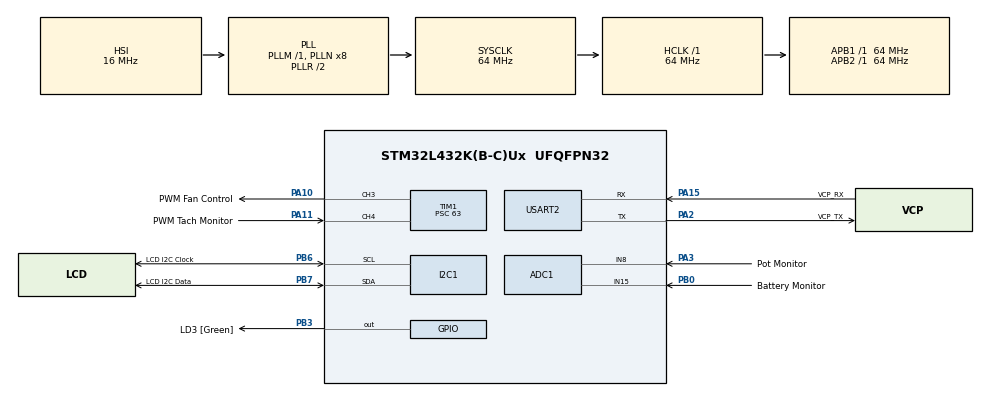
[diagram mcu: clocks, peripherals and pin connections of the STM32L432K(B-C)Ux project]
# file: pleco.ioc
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ADC1.Channel-0\#ChannelRegularConversion=ADC_CHANNEL_8
ADC1.Channel-1\#ChannelRegularConversion=ADC_CHANNEL_15
ADC1.NbrOfConversion=2
ADC1.NbrOfConversionFlag=1
ADC1.OffsetNumber-0\#ChannelRegularConversion=ADC_OFFSET_NONE
ADC1.OffsetNumber-1\#ChannelRegularConversion=ADC_OFFSET_NONE
ADC1.Rank-0\#ChannelRegularConversion=1
ADC1.Rank-1\#ChannelRegularConversion=2
ADC1.SamplingTime-0\#ChannelRegularConversion=ADC_SAMPLETIME_47CYCLES_5
ADC1.SamplingTime-1\#ChannelRegularConversion=ADC_SAMPLETIME_47CYCLES_5
ADC1.master=1
Dma.ADC1.0.Direction=DMA_PERIPH_TO_MEMORY
Dma.ADC1.0.Instance=DMA1_Channel1
Dma.ADC1.0.MemDataAlignment=DMA_MDATAALIGN_HALFWORD
Dma.ADC1.0.MemInc=DMA_MINC_ENABLE
Dma.ADC1.0.Mode=DMA_NORMAL
Dma.ADC1.0.PeriphDataAlignment=DMA_PDATAALIGN_HALFWORD
Dma.ADC1.0.PeriphInc=DMA_PINC_DISABLE
Dma.ADC1.0.Priority=DMA_PRIORITY_LOW
Dma.Request0=ADC1
FREERTOS.BinarySemaphores01=adcConvSem,Dynamic,NULL,Available;tachMonSem,Dynamic,NULL,Available
FREERTOS.Mutexes01=dataMutex,Dynamic,NULL,Available
FREERTOS.Tasks01=FanControlTask,32,512,StartFanControlTask,Default,NULL,Dynamic,NULL,NULL;MonitorADCTask,24,256,StartMonitorADCTask,Default,NULL,Dynamic,NULL,NULL;MonitorTachTask,32,256,StartMonitorTachTask,Default,NULL,Dynamic,NULL,NULL;UpdateLCDTask,16,256,StartUpdateLCDTask,Default,NULL,Dynamic,NULL,NULL
FREERTOS.configTOTAL_HEAP_SIZE=8192
FREERTOS.configUSE_NEWLIB_REENTRANT=1
I2C1.Timing=0x10B17DB5
Mcu.Family=STM32L4
Mcu.Name=STM32L432K(B-C)Ux
Mcu.Package=UFQFPN32
NVIC.DMA1_Channel1_IRQn=true\:5\:0\:false\:false\:true\:true\:false\:true\:true
NVIC.PriorityGroup=NVIC_PRIORITYGROUP_4
NVIC.TIM1_CC_IRQn=true\:5\:0\:false\:false\:true\:true\:true\:true\:true
NVIC.TIM2_IRQn=true\:15\:0\:false\:false\:true\:false\:false\:true\:true
NVIC.TimeBase=TIM2_IRQn
NVIC.TimeBaseIP=TIM2
PA0.GPIO_Label=MCO [High speed clock in]
PA0.Mode=HSE-External-Clock-Source-for-LittleOrca
PA0.Signal=RCC_CK_IN
PA10.GPIO_Label=PWM Fan Control
PA10.Signal=S_TIM1_CH3
PA11.GPIO_Label=PWM Tach Monitor
PA11.Signal=S_TIM1_CH4
PA13\ (JTMS-SWDIO).GPIO_Label=SWDIO
PA13\ (JTMS-SWDIO).Mode=Serial_Wire
PA13\ (JTMS-SWDIO).Signal=SYS_JTMS-SWDIO
PA14\ (JTCK-SWCLK).GPIO_Label=SWCLK
PA14\ (JTCK-SWCLK).Mode=Serial_Wire
PA14\ (JTCK-SWCLK).Signal=SYS_JTCK-SWCLK
PA15\ (JTDI).GPIO_Label=VCP_RX
PA15\ (JTDI).Mode=Asynchronous
PA15\ (JTDI).Signal=USART2_RX
PA2.GPIO_Label=VCP_TX
PA2.Mode=Asynchronous
PA2.Signal=USART2_TX
PA3.GPIO_Label=Pot Monitor
PA3.Signal=ADCx_IN8
PB0.GPIO_Label=Battery Monitor
PB0.Signal=ADCx_IN15
PB3\ (JTDO-TRACESWO).GPIO_Label=LD3 [Green]
PB3\ (JTDO-TRACESWO).Signal=GPIO_Output
PB6.GPIO_Label=LCD I2C Clock
PB6.Mode=I2C
PB6.Signal=I2C1_SCL
PB7.GPIO_Label=LCD I2C Data
PB7.Mode=I2C
PB7.Signal=I2C1_SDA
PC14-OSC32_IN\ (PC14).Mode=LSE-External-Oscillator
PC14-OSC32_IN\ (PC14).Signal=RCC_OSC32_IN
PC15-OSC32_OUT\ (PC15).Mode=LSE-External-Oscillator
PC15-OSC32_OUT\ (PC15).Signal=RCC_OSC32_OUT
ProjectManager.HeapSize=0x200
ProjectManager.StackSize=0x400
ProjectManager.TargetToolchain=STM32CubeIDE
RCC.ADCFreq_Value=64000000
RCC.AHBFreq_Value=64000000
RCC.APB1Freq_Value=64000000
RCC.APB1TimFreq_Value=64000000
RCC.APB2Freq_Value=64000000
RCC.APB2TimFreq_Value=64000000
RCC.CortexFreq_Value=64000000
RCC.HCLKFreq_Value=64000000
RCC.HSE_VALUE=8000000
RCC.HSI16_VALUE=16000000
RCC.HSI48_VALUE=48000000
RCC.HSI_VALUE=16000000
RCC.MSI_VALUE=4000000
RCC.PLLMUL=RCC_PLLMUL_4
RCC.PLLSourceVirtual=RCC_PLLSOURCE_HSI
RCC.SYSCLKFreq_VALUE=64000000
RCC.SYSCLKSource=RCC_SYSCLKSOURCE_PLLCLK
RCC.USBFreq_Value=64000000
RCC.VCOOutputFreq_Value=128000000
SH.ADCx_IN15.0=ADC1_IN15,IN15-Single-Ended
SH.ADCx_IN8.0=ADC1_IN8,IN8-Single-Ended
SH.S_TIM1_CH3.0=TIM1_CH3,PWM Generation3 CH3
SH.S_TIM1_CH4.0=TIM1_CH4,Input_Capture4_from_TI4
TIM1.Channel-Input_Capture4_from_TI4=TIM_CHANNEL_4
TIM1.Channel-PWM\ Generation3\ CH3=TIM_CHANNEL_3
TIM1.ICFilter_CH4=15
TIM1.ICPolarity_CH4=TIM_INPUTCHANNELPOLARITY_FALLING
TIM1.Prescaler=63
USART2.VirtualMode-Asynchronous=VM_ASYNC
VP_FREERTOS_VS_CMSIS_V2.Mode=CMSIS_V2
VP_SYS_VS_tim2.Mode=TIM2
VP_TIM1_VS_ClockSourceINT.Mode=Internal
board=NUCLEO-L432KC

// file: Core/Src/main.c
/* USER CODE BEGIN Header */
/**
  ******************************************************************************
  * @file           : main.c
  * @brief          : Main program body
  ******************************************************************************
  * @attention
  *
  * Copyright (c) 2024 STMicroelectronics.
  * All rights reserved.
  *
  * This software is licensed under terms that can be found in the LICENSE file
  * in the root directory of this software component.
  * If no LICENSE file comes with this software, it is provided AS-IS.
  *
  ******************************************************************************
  */
/* USER CODE END Header */
#include "main.h"
#include "cmsis_os.h"
#include "adc.h"
#include "dma.h"
#include "i2c.h"
#include "tim.h"
#include "usart.h"
#include "gpio.h"

/* USER CODE BEGIN Includes */
void InitializeBatteryMonitoringLog(void);
/* USER CODE END Includes */

/* USER CODE BEGIN PV */
volatile uint32_t overflowCount = 0;

/* USER CODE END PV */

void SystemClock_Config(void);
void MX_FREERTOS_Init(void);

int main(void)
{

  /* MCU Configuration--------------------------------------------------------*/

  /* Reset of all peripherals, Initializes the Flash interface and the Systick. */
  HAL_Init();

  /* Configure the system clock */
  SystemClock_Config();

  /* USER CODE BEGIN SysInit */
  InitializeBatteryMonitoringLog();

  /* USER CODE END SysInit */

  /* Initialize all configured peripherals */
  MX_GPIO_Init();
  MX_DMA_Init();
  MX_USART2_UART_Init();
  MX_ADC1_Init();
  MX_I2C1_Init();
  MX_TIM1_Init();
  /* USER CODE BEGIN 2 */

  // Start the PWM output on for fan control
  HAL_TIM_PWM_Start(&htim1, TIM_CHANNEL_3);
  // Initialize Timer 1 for tachometer Feedback
  HAL_TIM_IC_Start_IT(&htim1, TIM_CHANNEL_4);

  /* USER CODE END 2 */

  /* Init scheduler */
  osKernelInitialize();

  /* Call init function for freertos objects (in cmsis_os2.c) */
  MX_FREERTOS_Init();

  /* Start scheduler */
  osKernelStart();

  /* We should never get here as control is now taken by the scheduler */

  /* Infinite loop */
  while (1)
  {

  }
}

void SystemClock_Config(void)
{
  RCC_OscInitTypeDef RCC_OscInitStruct = {0};
  RCC_ClkInitTypeDef RCC_ClkInitStruct = {0};

  /** Configure the main internal regulator output voltage
  */
  if (HAL_PWREx_ControlVoltageScaling(PWR_REGULATOR_VOLTAGE_SCALE1) != HAL_OK)
  {
    Error_Handler();
  }

  /** Initializes the RCC Oscillators according to the specified parameters
  * in the RCC_OscInitTypeDef structure.
  */
  RCC_OscInitStruct.OscillatorType = RCC_OSCILLATORTYPE_HSI;
  RCC_OscInitStruct.HSIState = RCC_HSI_ON;
  RCC_OscInitStruct.HSICalibrationValue = RCC_HSICALIBRATION_DEFAULT;
  RCC_OscInitStruct.PLL.PLLState = RCC_PLL_ON;
  RCC_OscInitStruct.PLL.PLLSource = RCC_PLLSOURCE_HSI;
  RCC_OscInitStruct.PLL.PLLM = 1;
  RCC_OscInitStruct.PLL.PLLN = 8;
  RCC_OscInitStruct.PLL.PLLP = RCC_PLLP_DIV7;
  RCC_OscInitStruct.PLL.PLLQ = RCC_PLLQ_DIV2;
  RCC_OscInitStruct.PLL.PLLR = RCC_PLLR_DIV2;
  if (HAL_RCC_OscConfig(&RCC_OscInitStruct) != HAL_OK)
  {
    Error_Handler();
  }

  /** Initializes the CPU, AHB and APB buses clocks
  */
  RCC_ClkInitStruct.ClockType = RCC_CLOCKTYPE_HCLK|RCC_CLOCKTYPE_SYSCLK
                              |RCC_CLOCKTYPE_PCLK1|RCC_CLOCKTYPE_PCLK2;
  RCC_ClkInitStruct.SYSCLKSource = RCC_SYSCLKSOURCE_PLLCLK;
  RCC_ClkInitStruct.AHBCLKDivider = RCC_SYSCLK_DIV1;
  RCC_ClkInitStruct.APB1CLKDivider = RCC_HCLK_DIV1;
  RCC_ClkInitStruct.APB2CLKDivider = RCC_HCLK_DIV1;

  if (HAL_RCC_ClockConfig(&RCC_ClkInitStruct, FLASH_LATENCY_3) != HAL_OK)
  {
    Error_Handler();
  }
}

void HAL_TIM_PeriodElapsedCallback(TIM_HandleTypeDef *htim)
{
  /* USER CODE BEGIN Callback 0 */
  if (htim->Instance == TIM1)
  {
	// Increment overflow counter
  	overflowCount++;
  }

  /* USER CODE END Callback 0 */
  if (htim->Instance == TIM2) {
    HAL_IncTick();
  }
}

void Error_Handler(void)
{
  __disable_irq();
  while (1)
  {
  }
}

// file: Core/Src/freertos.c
/* USER CODE BEGIN Header */
/**
  ******************************************************************************
  * File Name          : freertos.c
  * Description        : Code for freertos applications
  ******************************************************************************
  * @attention
  *
  * Copyright (c) 2024 STMicroelectronics.
  * All rights reserved.
  *
  * This software is licensed under terms that can be found in the LICENSE file
  * in the root directory of this software component.
  * If no LICENSE file comes with this software, it is provided AS-IS.
  *
  ******************************************************************************
  */
/* USER CODE END Header */

#include "FreeRTOS.h"
#include "task.h"
#include "main.h"
#include "cmsis_os.h"

/* USER CODE BEGIN Includes */
#include "adc.h"
#include "i2c.h"
#include "semphr.h"
#include "liquidcrystal_i2c.h"
#include "tim.h"
#include <stdio.h>
#include <stdlib.h>
#include <math.h>
#include <stdbool.h>

/* USER CODE END Includes */

/* USER CODE BEGIN Variables */
#define CAPTURE_LOG_SIZE 1000
#define CAPTURE_BATTERY_LOG_SIZE 50 // Size of array for moving average
#define POT_HYSTERESIS_THRESHOLD 50 // 50 mv
#define TACH_HYSTERESIS_THRESHOLD 10000 // 10000 RPM Limit
#define POT_LOW_PASS_ALPHA 1.0f	//Responsiveness at max (range 0.0 - 1.0 higher is faster)
#define BATTERY_LOW_THRESHOLD 10.5
#define MAX_BATTERY_VOLTAGE 12.6 // 100%
#define MAX_ADC_READ 3090 // 100% ADC READ (for battery logging initialization)
#define ADC_NOISE_AVERAGE 52 // Measured average of noise when RPMS are High vs Low - adjust as needed

extern LiquidCrystal_I2C lcd;

volatile uint16_t adcBuffer[2]; // [0] used for pot, [1] for battery
volatile uint16_t potReadValue;
volatile uint16_t potPercentage;
volatile uint16_t tachReadValue;
volatile uint32_t localFanPeriod = 0;

// Logs for battery / ADC / duty cycle / PID error, etc.
volatile unsigned int captureADCLogIndex = 0;
volatile float captureADCLog[CAPTURE_BATTERY_LOG_SIZE];
volatile uint8_t captureADCLogOverflow = 0;

volatile unsigned int captureBatteryLogIndex = 0;
volatile float captureBatteryLog[CAPTURE_BATTERY_LOG_SIZE];

volatile unsigned int captureDutyCycleLogIndex = 0;
volatile uint8_t captureDutyCycleLogOverflow = 0;        // Flag to indicate buffer overflow
volatile float captureDutyCycleLog[CAPTURE_LOG_SIZE];

volatile unsigned int captureErrorLogIndex = 0;
volatile uint8_t captureErrorLogOverflow = 0;        // Flag to indicate buffer overflow
volatile float captureErrorLog[CAPTURE_LOG_SIZE];

// Shared flag for low battery voltage
volatile bool batteryLow = false;

// Rate‐limiting parameter: how many timer counts we allow the duty cycle to change per iteration
volatile float maxDeltaPerLoop = 10000.0f; // adjust to clamp over/undershoot

// Max RPM - for DBTB0428B2G - manually measured using external tach;
volatile float maxRPM = 23000.0f;

// used for PID Tuning
volatile float bestScore = -1.0f;
volatile float score = 0.0f;
volatile float testSetpoint = 0.7f; // 70% or 15400 RPM for PID tuning
volatile float testTime = 20.0f; // 15 seconds each test
// Best Scoring PID Values - Score: 38
volatile float kP = 66.0f;
volatile float kI = 7.3727f;
volatile float kD = 0.00159f;

// Piecewise samples for calculating battery life
typedef struct{
	float adcValue;
	float voltageValue;
	float batteryPercent;
} BatteryPoint;

// Empirically derived samples
static const BatteryPoint batteryTable[] = {
	//  voltage,   ADC,        approx. %
	{ 3079.90f, 12.50f,  97.0f },
	{ 3055.96f, 12.45f,  95.0f },
	{ 3046.58f, 12.40f,  93.0f },
	{ 3033.42f, 12.35f,  91.0f },
	{ 3022.80f, 12.30f,  89.0f },
	{ 3004.28f, 12.25f,  88.0f },
	{ 3000.84f, 12.20f,  85.0f },
	{ 2979.90f, 12.15f,  83.0f },
	{ 2968.90f, 12.10f,  81.0f },
	{ 2965.18f, 12.05f,  78.0f },
	{ 2943.48f, 12.00f,  76.0f },
	{ 2937.22f, 11.95f,  74.0f },
	{ 2922.16f, 11.90f,  72.0f },
	{ 2912.56f, 11.85f,  69.0f },
	{ 2901.84f, 11.80f,  67.0f },
	{ 2886.44f, 11.75f,  64.0f },
	{ 2878.52f, 11.70f,  61.0f },
	{ 2864.88f, 11.65f,  58.0f },
	{ 2846.66f, 11.60f,  53.0f },
	{ 2833.86f, 11.55f,  49.0f },
	{ 2822.10f, 11.50f,  44.0f },
	{ 2815.10f, 11.45f,  38.0f },
	{ 2802.82f, 11.40f,  32.0f },
	{ 2789.94f, 11.35f,  28.0f },
	{ 2773.90f, 11.30f,  25.0f },
	{ 2763.30f, 11.25f,  21.0f },
	{ 2752.16f, 11.20f,  18.0f },
	{ 2741.18f, 11.15f,  16.0f },
	{ 2729.64f, 11.05f,  11.0f },
	{ 2704.96f, 11.00f,   9.0f },
	{ 2696.06f, 10.95f,   8.0f },
	{ 2677.54f, 10.90f,   8.0f },
	{ 2670.00f, 10.85f,   7.0f },
	{ 2653.00f, 10.80f,   7.0f },
	{ 2643.52f, 10.75f,   6.0f },
	{ 2637.84f, 10.70f,   6.0f },
	{ 2604.76f, 10.60f,   6.0f },
	{ 2587.14f, 10.50f,   5.0f },
	{ 2563.54f, 10.40f,   4.0f }
};
static const int batteryTableCount = sizeof(batteryTable) / sizeof(batteryTable[0]);

/* USER CODE END Variables */
/* Definitions for FanControlTask */
osThreadId_t FanControlTaskHandle;
const osThreadAttr_t FanControlTask_attributes = {
  .name = "FanControlTask",
  .stack_size = 512 * 4,
  .priority = (osPriority_t) osPriorityAboveNormal,
};
/* Definitions for MonitorADCTask */
osThreadId_t MonitorADCTaskHandle;
const osThreadAttr_t MonitorADCTask_attributes = {
  .name = "MonitorADCTask",
  .stack_size = 256 * 4,
  .priority = (osPriority_t) osPriorityNormal,
};
/* Definitions for MonitorTachTask */
osThreadId_t MonitorTachTaskHandle;
const osThreadAttr_t MonitorTachTask_attributes = {
  .name = "MonitorTachTask",
  .stack_size = 256 * 4,
  .priority = (osPriority_t) osPriorityAboveNormal,
};
/* Definitions for UpdateLCDTask */
osThreadId_t UpdateLCDTaskHandle;
const osThreadAttr_t UpdateLCDTask_attributes = {
  .name = "UpdateLCDTask",
  .stack_size = 256 * 4,
  .priority = (osPriority_t) osPriorityBelowNormal,
};
/* Definitions for dataMutex */
osMutexId_t dataMutexHandle;
const osMutexAttr_t dataMutex_attributes = {
  .name = "dataMutex"
};
/* Definitions for adcConvSem */
osSemaphoreId_t adcConvSemHandle;
const osSemaphoreAttr_t adcConvSem_attributes = {
  .name = "adcConvSem"
};
/* Definitions for tachMonSem */
osSemaphoreId_t tachMonSemHandle;
const osSemaphoreAttr_t tachMonSem_attributes = {
  .name = "tachMonSem"
};

/* USER CODE BEGIN FunctionPrototypes */

/**
  * @brief  Initializes the battery logging array with a default ADC value
  *         (e.g. MAX_ADC_READ), helping avoid false "low battery" on startup.
  *         Called once at system init if needed.
  */
void InitializeBatteryMonitoringLog()
{
	for (int i = 0; i < CAPTURE_BATTERY_LOG_SIZE; i++)
	{
		captureBatteryLog[i] = MAX_ADC_READ;
	}
}

/**
  * @brief  Applies hysteresis + low-pass filtering on the raw pot ADC reading.
  *         Returns a smoothed millivoltage. Minimizes jitter but stays responsive.
  *
  * @param  newReading   Raw ADC reading: range [0..4095].
  * @retval float        Filtered reading in millivolts [0..3300].
  */
float ProcessPotentiometerReading(float newReading)
{
	static float potLastAcceptedValue = 0.0f;
	static float potFilteredValue = 0.0f;
	newReading = (newReading / 4095.0f) * 3300.0f;

	// Apply Hysteresis to ignore small changes
	if(fabs(newReading - potLastAcceptedValue) > POT_HYSTERESIS_THRESHOLD)
	{
		potLastAcceptedValue = newReading;
	}

	// Apply Low-pass filter for smoothing
	potFilteredValue = potFilteredValue + POT_LOW_PASS_ALPHA * (potLastAcceptedValue - potFilteredValue);
	return potFilteredValue;
}

/**
  * @brief  Averages the battery ADC readings from captureBatteryLog to produce a stable value.
  *
  * @retval float   The moving-average ADC reading (in raw ADC counts).
  */
float GetBatteryReadingADC()
{
	static int count = 0;
	count = count < CAPTURE_BATTERY_LOG_SIZE ? count + 1 : CAPTURE_BATTERY_LOG_SIZE; // Increment up to buffer size

	float sum = 0.0f;
	for(int i = 0; i < count; i++)
	{
		sum += captureBatteryLog[i];
	}
	float currentACDReading = sum / count;
	return currentACDReading;
}

/**
  * @brief  Converts the average ADC reading into an approximate battery voltage (Volts),
  *         using piecewise linear interpolation. Reference batteryTable for samples.
  *
  * @retval float  Approximate battery voltage (e.g. 12.45).
  */
float GetBatteryReadingVolts()
{
	float adcValue = GetBatteryReadingADC();
	// If the measured ADC is >= max voltage, clamp:
	if(adcValue >= batteryTable[0].adcValue)
	{
		return (float)MAX_BATTERY_VOLTAGE; // return max 12.6 volts
	}

	// If the measured ADC is <= min voltage, clamp:
	if(adcValue <= batteryTable[batteryTableCount - 1].adcValue)
	{
		return batteryTable[batteryTableCount -1].voltageValue;
	}

	// Run through samples to determine slope and intersect
	for(int i = 0; i < batteryTableCount - 1; i++)
	{
		float adcHigh = batteryTable[i].adcValue;
		float adcLow = batteryTable[i+1].adcValue;

		if(adcValue <= adcHigh && adcValue >=adcLow)
		{
			// Correct segment located from the table
			// Linearly interpolate between adcHigh and adcLow
			float voltageHigh = batteryTable[i].voltageValue;
			float voltageLow = batteryTable[i+1].voltageValue;

			// Fraction along the segment
			float fraction = (adcValue - adcLow) / (adcHigh - adcLow);

			// Interpolate
			float estimatedVoltage = voltageLow + fraction * (voltageHigh - voltageLow);

			return estimatedVoltage;
		}
	}
	// should never get here due to clamping - avoids compile warnings
	return batteryTable[batteryTableCount - 1].voltageValue;
}

/**
  * @brief  Converts the average ADC reading into an integer percentage [0..100] by
  *         linearly interpolating the raw ADC reading in batteryTable.

  * @retval uint8_t  The battery percentage, 0..100.
  */
uint8_t GetBatteryLifePercent()
{
	float adcValue = GetBatteryReadingADC();
		// If the measured ADC is >= max percentage, clamp:
		if(adcValue >= batteryTable[0].adcValue)
		{
			return 100; // return 100% battery life
		}

		// If the measured ADC is <= min voltage, clamp:
		if(adcValue <= batteryTable[batteryTableCount - 1].adcValue)
		{
			return batteryTable[batteryTableCount -1].batteryPercent;
		}

		// Run through samples to determine slope and intersect
		for(int i = 0; i < batteryTableCount - 1; i++)
		{
			float adcHigh = batteryTable[i].adcValue;
			float adcLow = batteryTable[i+1].adcValue;

			if(adcValue <= adcHigh && adcValue >=adcLow)
			{
				// Correct segment located from the table
				// Linearly interpolate between adcHigh and adcLow
				float percentHigh = batteryTable[i].batteryPercent;
				float percentLow = batteryTable[i+1].batteryPercent;

				// Fraction along the segment
				float fraction = (adcValue - adcLow) / (adcHigh - adcLow);

				// Interpolate
				uint8_t batteryPercentage = (int)round(percentLow + fraction * (percentHigh - percentLow));

				return batteryPercentage;
			}
		}
		// should never get here due to clamping - avoids compile warnings
		return batteryTable[batteryTableCount - 1].voltageValue;
}

/**
  * @brief  Returns the battery reading in millivolts, derived from GetBatteryReadingVolts().
  *
  * @retval float  The battery voltage in millivolts (e.g., 12540.0).
  */
float GetBatteryReadingMillivolts()
{
	float volts = GetBatteryReadingVolts();
	return (volts * 1000.0f);  // returns ~12570.0
}

/**
  * @brief  Logs a new raw battery ADC reading into captureBatteryLog for averaging, then
  *         checks if the battery voltage is below BATTERY_LOW_THRESHOLD to set batteryLow.
  *
  * @param  newReading: The raw ADC reading for battery channel [0..4095].
  */
void ProcessBatteryReading(float newReading)
{
	captureBatteryLog[captureBatteryLogIndex] = newReading;
	captureBatteryLogIndex = (captureBatteryLogIndex +1 ) % CAPTURE_BATTERY_LOG_SIZE;
	// If Battery is low throttle power down
	if(GetBatteryReadingVolts() < BATTERY_LOW_THRESHOLD)
	{
		// Indicate battery low to other tasking
		if(osMutexAcquire(dataMutexHandle, osWaitForever) == osOK)
		{
			batteryLow = true;
			osMutexRelease(dataMutexHandle);
		}
	}
	else
	{
		// Indicate battery not yet low to other tasking
		if(osMutexAcquire(dataMutexHandle, osWaitForever) == osOK)
		{
			batteryLow = false;
			osMutexRelease(dataMutexHandle);
		}
	}
}

/**
  * @brief  Updates the globally used PID gains kP, kI, kD for fan control.
  *
  * @param  kp, ki, kd : Gains used in the PID control loop
  */
void SetPIDGains(float kp, float ki, float kd)
{
    kP = kp;
    kI = ki;
    kD = kd;
}

/**
  * @brief  Runs a mini PID loop at the specified (testKp, testKi, testKd)
  *         for the specified duration. It drives the fan (PWM) using
  *         scaledDuty calls, measures performance, then returns a "score"
  *         (e.g., fraction of time on target).
  *
  * @param  testKp, testKi, testKd : Gains to apply temporarily
  *
  * @retval float: Score achieved by this these PID values - score represents time spent
  *    		  	   at set point within threshold
  */
float RunPIDTest(float testKp, float testKi, float testKd)
{
    // 1) Save original gains so we can restore later
    float originalKp = kP;
    float originalKi = kI;
    float originalKd = kD;

    // 2) Apply the test gains
    SetPIDGains(testKp, testKi, testKd);

    /************************************************************
     * 3) WARM-UP PHASE
     ************************************************************/
    const TickType_t warmUpTicks = pdMS_TO_TICKS(2000); // e.g., 3 seconds
    TickType_t startTicks = xTaskGetTickCount();
    TickType_t warmUpEnd  = startTicks + warmUpTicks;

    const TickType_t stepDelay = pdMS_TO_TICKS(10); // 10 ms loop
    float dT = 0.01f; // 10 ms in float seconds

    float pidIntegral    = 0.0f;
    float previousError  = 0.0f;
    float pidOutput      = 0.0f;
    float scaledDuty     = 0.0f;

    // Keep track of the previous duty cycle for "soft clamp" & rate limit
    float lastDuty       = 0.0f;

    while (xTaskGetTickCount() < warmUpEnd)
    {
        // 3A) Read current RPM
        osMutexAcquire(dataMutexHandle, portMAX_DELAY);
        uint16_t currRPM = tachReadValue;
        osMutexRelease(dataMutexHandle);

        // 3B) Compute error
        float error = testSetpoint - currRPM;

        // 3C) Basic PID
        pidIntegral       += (error * dT);
        float pidDerivative = (error - previousError) / dT;
        pidOutput          = (kP * error) + (kI * pidIntegral) + (kD * pidDerivative);
        previousError      = error;

        // 3D) Convert to duty cycle
        float pwmMaxValue = (float)__HAL_TIM_GET_AUTORELOAD(&htim1);
        scaledDuty = (pidOutput / maxRPM) * pwmMaxValue;

        // 3E) "Soft clamp" approach for negative outputs
        if (scaledDuty < 0.0f)
        {
            float overshootMagnitude  = -scaledDuty;  // how negative we went
            float reductionFraction   = 0.80f;         // tweak as needed
            scaledDuty = lastDuty - (overshootMagnitude * reductionFraction);

            if (scaledDuty < 0.0f)
                scaledDuty = 0.0f;
        }

        // 3F) Also clamp if above max
        if (scaledDuty > pwmMaxValue)
            scaledDuty = pwmMaxValue;

        // >>>> NEW RATE‐LIMITING BLOCK <<<<
        float delta = scaledDuty - lastDuty;
        if (delta >  maxDeltaPerLoop)  delta =  maxDeltaPerLoop;
        if (delta < -maxDeltaPerLoop)  delta = -maxDeltaPerLoop;
        scaledDuty = lastDuty + delta;
        // (Now clamp again if it drifted below 0 or above max)
        if (scaledDuty < 0.0f)         scaledDuty = 0.0f;
        if (scaledDuty > pwmMaxValue)  scaledDuty = pwmMaxValue;
        // <<<< END RATE‐LIMITING BLOCK >>>>

        // 3G) Apply the scaled duty
        __HAL_TIM_SET_COMPARE(&htim1, TIM_CHANNEL_3, (uint32_t)scaledDuty);

        // 3H) Save duty for next iteration
        lastDuty = scaledDuty;

        // 3I) Wait a bit
        vTaskDelay(stepDelay);
    }

    /************************************************************
     * 4) MEASUREMENT PHASE (accumulate error metrics)
     ************************************************************/
    uint32_t onTargetCount    = 0;
    uint32_t offTargetCount   = 0;
    float absoluteErrorSum     = 0.0f;

    float threshold           = 300.0f;  // ±300 RPM
    TickType_t measureTicks   = (TickType_t)(testTime * 1000 / portTICK_PERIOD_MS);
    TickType_t measureStart   = xTaskGetTickCount();
    TickType_t measureEnd     = measureStart + measureTicks;

    // Optionally reset integrator at start of measurement
    // pidIntegral = 0.0f;

    while (xTaskGetTickCount() < measureEnd)
    {
        // 4A) Read current RPM
        osMutexAcquire(dataMutexHandle, portMAX_DELAY);
        uint16_t currRPM = tachReadValue;
        osMutexRelease(dataMutexHandle);

        // 4B) Compute error
        float error = testSetpoint - currRPM;
        absoluteErrorSum += fabsf(error) * dT;

        // 4C) On-target or off-target
        if (fabsf(error) <= threshold)
            onTargetCount++;
        else
            offTargetCount++;

        // 4D) PID calculations
        pidIntegral       += (error * dT);
        float pidDerivative = (error - previousError) / dT;
        pidOutput          = (kP * error) + (kI * pidIntegral) + (kD * pidDerivative);
        previousError      = error;

        // Log the current capture value for analyzing tach data
        captureErrorLog[captureDutyCycleLogIndex] = error;  // Write to the buffer
        captureErrorLogIndex++;
        if (captureErrorLogIndex >= CAPTURE_LOG_SIZE)
        {
            captureErrorLogIndex = 0;
            captureErrorLogOverflow = 1; // Indicate overflow
        }

        // 4E) Convert to duty cycle
        float pwmMaxValue = (float)__HAL_TIM_GET_AUTORELOAD(&htim1);
        scaledDuty        = (pidOutput / maxRPM) * pwmMaxValue;

        // 4F) "Soft clamp" again for negative
        if (scaledDuty < 0.0f)
        {
            float overshootMagnitude  = -scaledDuty;
            float reductionFraction   = 0.5f;
            scaledDuty = lastDuty - (overshootMagnitude * reductionFraction);

            if (scaledDuty < 0.0f)
                scaledDuty = 0.0f;
        }

        if (scaledDuty > pwmMaxValue)
            scaledDuty = pwmMaxValue;

        // >>>> RATE‐LIMITING AGAIN <<<<
        float delta = scaledDuty - lastDuty;
        if (delta >  maxDeltaPerLoop)  delta =  maxDeltaPerLoop;
        if (delta < -maxDeltaPerLoop)  delta = -maxDeltaPerLoop;
        scaledDuty = lastDuty + delta;
        // final clamp
        if (scaledDuty < 0.0f)         scaledDuty = 0.0f;
        if (scaledDuty > pwmMaxValue)  scaledDuty = pwmMaxValue;
        // <<<< END RATE‐LIMITING BLOCK >>>>

		 // Log the current capture value for analyzing tach data
       captureDutyCycleLog[captureDutyCycleLogIndex] = scaledDuty;  // Write to the buffer
       captureDutyCycleLogIndex++;                            // Increment the index

		if (captureDutyCycleLogIndex >= CAPTURE_LOG_SIZE)      // Handle buffer overflow
		{
			captureDutyCycleLogIndex = 0;                      // Reset index (circular buffer)
			captureDutyCycleLogOverflow = 1;                   // Indicate overflow
		}

        __HAL_TIM_SET_COMPARE(&htim1, TIM_CHANNEL_3, (uint32_t)scaledDuty);
        lastDuty = scaledDuty;

        vTaskDelay(stepDelay);
    }

    /************************************************************
     * 5) Convert the error metrics into a final "score"
     ************************************************************/
    float totalSamples = (float)(onTargetCount + offTargetCount);
    float fractionOnTarget = 0.0f;
    if (totalSamples > 0.0f)
        fractionOnTarget = (float)onTargetCount / totalSamples;

    float penalty = 1.0f + absoluteErrorSum / 100000.0f;
    float localScore = fractionOnTarget / penalty;

    /************************************************************
     * 6) Restore original gains
     ************************************************************/
    SetPIDGains(originalKp, originalKi, originalKd);

    return localScore;
}

/* USER CODE END FunctionPrototypes */

void StartFanControlTask(void *argument);
void StartMonitorADCTask(void *argument);
void StartMonitorTachTask(void *argument);
void StartUpdateLCDTask(void *argument);

void MX_FREERTOS_Init(void); /* (MISRA C 2004 rule 8.1) */

void MX_FREERTOS_Init(void) {
  /* Create the mutex(es) */
  /* creation of dataMutex */
  dataMutexHandle = osMutexNew(&dataMutex_attributes);

  /* Create the semaphores(s) */
  /* creation of adcConvSem */
  adcConvSemHandle = osSemaphoreNew(1, 1, &adcConvSem_attributes);

  /* creation of tachMonSem */
  tachMonSemHandle = osSemaphoreNew(1, 1, &tachMonSem_attributes);

  /* Create the thread(s) */
  /* creation of FanControlTask */
  FanControlTaskHandle = osThreadNew(StartFanControlTask, NULL, &FanControlTask_attributes);

  /* creation of MonitorADCTask */
  MonitorADCTaskHandle = osThreadNew(StartMonitorADCTask, NULL, &MonitorADCTask_attributes);

  /* creation of MonitorTachTask */
  MonitorTachTaskHandle = osThreadNew(StartMonitorTachTask, NULL, &MonitorTachTask_attributes);

  /* creation of UpdateLCDTask */
  UpdateLCDTaskHandle = osThreadNew(StartUpdateLCDTask, NULL, &UpdateLCDTask_attributes);

}

void StartFanControlTask(void *argument)
{
  /* USER CODE BEGIN StartFanControlTask */
	const uint32_t pwmMaxValue = __HAL_TIM_GET_AUTORELOAD(&htim1); // Max value for the PWM duty cycle (timer auto-reload value)

	// PID variables
	float previousError = 0.0f;
	float dT = 0.01f; // Assumes this tasks runs every 10ms
	float setPoint = 0.0f;
	float error = 0.0f;
	float pidIntegral = 0.0f;
	float pidDerivative = 0.0f;
	float pidOutput = 0.0f;
	float scaledDuty = 0.0f;
	float lastDuty       = 0.0f; // Keeps track of the previous duty cycle for "soft clamp" & rate limit
	uint16_t potValue = 0; // Get the latest potentiometer value (0-100%)
	uint16_t currentRPM = 0;

	/*
	// OPTIONAL AUTO-TUNING PROCEDURE: comment out if not used
	// used for PID tuning (15400)
	testSetpoint = 0.7f * maxRPM;
	// Arrays of Kp, Ki, Kd to try:
	// Kp to try
	float possibleKp[] = {10.0f,15.0f,66.0f,304.5f};
	// Ki to try
	float possibleKi[] = {0.4096f, 0.8192f};
	//float possibleKd[] = {0.0f};
	float possibleKd[] = {0.0008f, 0.0016f, 0.0032f, 0.0064f, 0.0128f, 0.0256f};

	float bestKp   = kP;
	float bestKi   = kI;
	float bestKd   = kD;

	// Loop over possible gains:
	for (size_t i=0; i< (sizeof(possibleKp)/sizeof(possibleKp[0])); i++)
	{
		for (size_t j=0; j< (sizeof(possibleKi)/sizeof(possibleKi[0])); j++)
		{
			for (size_t k=0; k< (sizeof(possibleKd)/sizeof(possibleKd[0])); k++)
			{
			  float kpVal = possibleKp[i];
			  float kiVal = possibleKi[j];
			  float kdVal = possibleKd[k];

			  score = RunPIDTest(kpVal, kiVal, kdVal);
			  // Compare:
			  if (score > bestScore)
			  {
				  bestScore = score;
				  bestKp    = kpVal;
				  bestKi    = kiVal;
				  bestKd    = kdVal;
			  }
			}
		}
	}

	// When tuning place a break point here to see best values
	SetPIDGains(bestKp, bestKi, bestKd);
	// *** (END of auto-tuning procedure) ****/

	for(;;)  // Main fan control loop
	{
		// Acquire the mutex to safely access potReadValue, tachReadValue
		osMutexAcquire(dataMutexHandle, osWaitForever);
		potValue   = potPercentage;   // e.g. 0–100
		currentRPM = tachReadValue;  // measured from tach
		osMutexRelease(dataMutexHandle);

		// If Battery is low throttle power down
		if(batteryLow)
		{
			// Set Duty cycle to zero
			scaledDuty = 0.0f;
			__HAL_TIM_SET_COMPARE(&htim1, TIM_CHANNEL_3, 0);

			// Skip all PID logic
			lastDuty = 0.0f;
			osDelay(pdMS_TO_TICKS(10));
			continue;
		}

		// Convert potValue% to a target RPM in [0, maxRPM]
		setPoint = (potValue / 100.0f) * maxRPM;

		// Calculate PID Error
		error = setPoint - currentRPM;

		// PID Calculations
		pidIntegral   += error * dT;
		pidDerivative  = (error - previousError) / dT;
		pidOutput      = (kP * error) + (kI * pidIntegral) + (kD * pidDerivative);

		previousError  = error; // store for next iteration

		// Convert pidOutput to duty cycle
		scaledDuty = (pidOutput / maxRPM) * (float)pwmMaxValue;

		// ============= 1) “Soft clamp” approach for negative outputs =============
		if (scaledDuty < 0.0f)
		{
		  float overshootMagnitude = -scaledDuty;   // how negative
		  float reductionFraction   = 0.80f;         // tweak as needed
		  scaledDuty = lastDuty - (overshootMagnitude * reductionFraction);

		  if (scaledDuty < 0.0f)
			scaledDuty = 0.0f;
		}

		// ============= 2) Hard clamp if above max =============
		if (scaledDuty > pwmMaxValue) scaledDuty = pwmMaxValue;

		// ============= 3) Rate‐limiting code =============
		float delta = scaledDuty - lastDuty;
		if (delta >  maxDeltaPerLoop)   delta =  maxDeltaPerLoop;
		if (delta < -maxDeltaPerLoop)   delta = -maxDeltaPerLoop;
		scaledDuty = lastDuty + delta;

		// Final clamp again if it ended up outside [0, pwmMaxValue]
		if (scaledDuty < 0.0f) scaledDuty = 0.0f;
		if (scaledDuty > pwmMaxValue) scaledDuty = pwmMaxValue;

		// 4) Apply the final scaled duty
		__HAL_TIM_SET_COMPARE(&htim1, TIM_CHANNEL_3, (uint32_t)scaledDuty);

		// 5) Save for next loop iteration
		lastDuty = scaledDuty;

		// Delay ~10 ms
		osDelay(pdMS_TO_TICKS(10));
	}
  /* USER CODE END StartFanControlTask */
}

void StartMonitorADCTask(void *argument)
{
  /* USER CODE BEGIN StartMonitorADCTask */
  float potVoltage_mv = 0.0;
  float batteryVoltageReading = 0.0f;
  uint16_t localPotPercentage = 0;

  /* Infinite loop */
  for(;;)
  {
	  //Start ADC DMA Conversion
	  if(HAL_ADC_Start_DMA(&hadc1, (uint32_t*)adcBuffer, 2) == HAL_OK)
	  {
		  // Wait for conversion to complete
		  if(xSemaphoreTake(adcConvSemHandle, pdMS_TO_TICKS(100)) == pdTRUE)
		  {
			  // Conversion is complete, buffer data is ready
			  // Get the potentiometer return voltage
			  potVoltage_mv = (float)adcBuffer[0]; // Read potentiometer voltage
			  // Get the battery reading voltage
			  batteryVoltageReading = (float)adcBuffer[1];
		  }
		  else
		  {
			  //ADC Conversion did not complete in time.
		      // TODO: Handle error if needed
		  }
	  }
	  else
	  {
		  // ADC DMA failed to start
		  // TODO: Handle error if needed
	  }

	  // Process Potentiometer Reading
	  potVoltage_mv = ProcessPotentiometerReading(potVoltage_mv);
	  // Derive potentiometer turn percentage
	  localPotPercentage = round((potVoltage_mv / 3200) * 100);
	  if(localPotPercentage > 100){localPotPercentage = 100;}
	  if(localPotPercentage < 0){localPotPercentage = 0;}

	  // Apply offset for observed noise in the system
	  float calculatedNoiseOffset =  ADC_NOISE_AVERAGE * (1.0f - ((float)localPotPercentage / 100));
	  batteryVoltageReading += calculatedNoiseOffset;

	  // Store Pot Values
	  if(osMutexAcquire(dataMutexHandle, osWaitForever) == osOK)
	  {
		  // Variables are ready for updates
		  potReadValue = potVoltage_mv;
		  potPercentage = localPotPercentage;
		  osMutexRelease(dataMutexHandle);
	  }

	  // Process battery readings
	  ProcessBatteryReading(batteryVoltageReading);

    osDelay(100);
  }
  /* USER CODE END StartMonitorADCTask */
}

void StartMonitorTachTask(void *argument)
{
  /* USER CODE BEGIN StartMonitorTachTask */
	// Timer frequency in Hz (1Mhz with 63 prescaler)
	const float timerFreq = 1000000.0f;
	float localFrequency = 0.0f;
	const float pulsesPerRev = 2.0f;
	static float tachLastAcceptedValue = 15000.0f; // initialize to mid-range
	uint16_t rpm = 0;
	/* Infinite loop */
	for(;;)
	{
		// Get the current time and the last update time first
		TickType_t currentTime = xTaskGetTickCount();

		// Check how long since the last pulse
		TickType_t timeSinceLastPulse = currentTime - lastTachUpdateTime;

		// If more than 1000ms have passed without a new pulse, fan is effectively stopped
		if (timeSinceLastPulse > pdMS_TO_TICKS(1000))
		{
			rpm = 0;
			// Update shared variable for RPM
			if(osMutexAcquire(dataMutexHandle, osWaitForever) == osOK)
			{
				tachReadValue = rpm;
				osMutexRelease(dataMutexHandle);
			}
		}
		else
		{
			// Check semaphore if read task is available from tach callback
			if(xSemaphoreTake(tachMonSemHandle, pdMS_TO_TICKS(100)) == pdTRUE)
			{
				// Capture event has occurred - compute new RPM reading
				localFanPeriod = fanPeriodTicks;
				if(localFanPeriod > 0)
				{
					// Calculate RPM
					localFrequency = timerFreq / (float)localFanPeriod;
					rpm = (uint16_t)(localFrequency * ((float)60 / pulsesPerRev));
					// Apply Hysteresis to ignore large changes
					if(fabs(rpm - tachLastAcceptedValue) < TACH_HYSTERESIS_THRESHOLD)
					{
						// If change is within the acceptable range, accept the new RPM
						tachLastAcceptedValue = rpm;
					}
					else
					{
						// Otherwise, retain the last accepted RPM value
						rpm = tachLastAcceptedValue;
					}
				}
				else
				{
					// If not data - RPM is likely zero
					rpm = 0;
				}

				//Store the RPM as a shared variable
				if(osMutexAcquire(dataMutexHandle, osWaitForever) == osOK)
				{
					tachReadValue = rpm;
					osMutexRelease(dataMutexHandle);
				}
			}
		}

	osDelay(pdMS_TO_TICKS(5));
	}
  /* USER CODE END StartMonitorTachTask */
}

void StartUpdateLCDTask(void *argument)
{
  /* USER CODE BEGIN StartUpdateLCDTask */
	char line1[17];
	char line2[17];
	uint16_t currentFanRPM = 0;
	uint16_t targetFanRPM = 0;
	// For recharge / power throttle
	TickType_t lastBlinkTime = 0;
	bool blinkState = false;
	bool isBatteryLow = false;

	lcd_clear(&lcd);

	for(;;)
	{
		// Acquire blink state - blinking every 500 ms
		TickType_t now = xTaskGetTickCount();
		if((now - lastBlinkTime) >= pdMS_TO_TICKS(500))
		{
			blinkState = !blinkState;
			lastBlinkTime = now;
		}

		// Read shared variables
		osMutexAcquire(dataMutexHandle, osWaitForever);
		currentFanRPM = tachReadValue;
		isBatteryLow = batteryLow;
		// Convert the potValue to a target RPM
		targetFanRPM = (potPercentage / 100.0f) * maxRPM;
		osMutexRelease(dataMutexHandle);

		if(isBatteryLow)
		{
			//Line 1: "Power Low: XX.Xv"
			lcd_clear(&lcd); // clear each line
			snprintf(line1, sizeof(line1), "Power Low: %.2fv", GetBatteryReadingVolts());
			lcd_setCursor(&lcd,0,0);
			lcd_print(&lcd, line1);

			//Line 2: blink "PLEASE RECHARGE!"
			lcd_setCursor(&lcd,0,1);
			if(blinkState)
			{
				snprintf(line2,sizeof(line2), "PLEASE RECHARGE!");
				lcd_print(&lcd, line2);
			}
			else
			{
				//Just print blank for blinky affect ( • ᴗ - )
				lcd_print(&lcd, "                ");
			}

			// skip the rest of the loop
			osDelay(25);
			continue;
		}

		/* Use for PID tuning - comment out when not tuning
		uint16_t localBestScore = roundf(bestScore * 100);
		uint16_t localScore = roundf(score * 100);
		snprintf(line1, sizeof(line1), "%5u-S:%d/BS:%d", currentFanRPM, localScore, localBestScore);
		lcd_setCursor(&lcd, 0, 0);
		lcd_print(&lcd, line1);
		snprintf(line2, sizeof(line2), "p%.0fi%.3fd%.3f", kP, kI, kD);
		lcd_setCursor(&lcd, 0, 1);
		lcd_print(&lcd, line2);
		// End PID Tuning output */

		/* Normal Operation output */
		// Update LCD with new data
		snprintf(line1, sizeof(line1), "RPM: %5u/%5u", currentFanRPM, targetFanRPM);
		lcd_setCursor(&lcd, 0, 0);
		lcd_print(&lcd, line1);
		snprintf(line2, sizeof(line2), "Power:%.2fv/%2u%%", GetBatteryReadingVolts(), GetBatteryLifePercent());
		lcd_setCursor(&lcd, 0, 1);
		lcd_print(&lcd, line2);
		/* End Normal Operation output */

		osDelay(25); // Adjust as needed
	}
  /* USER CODE END StartUpdateLCDTask */
}
